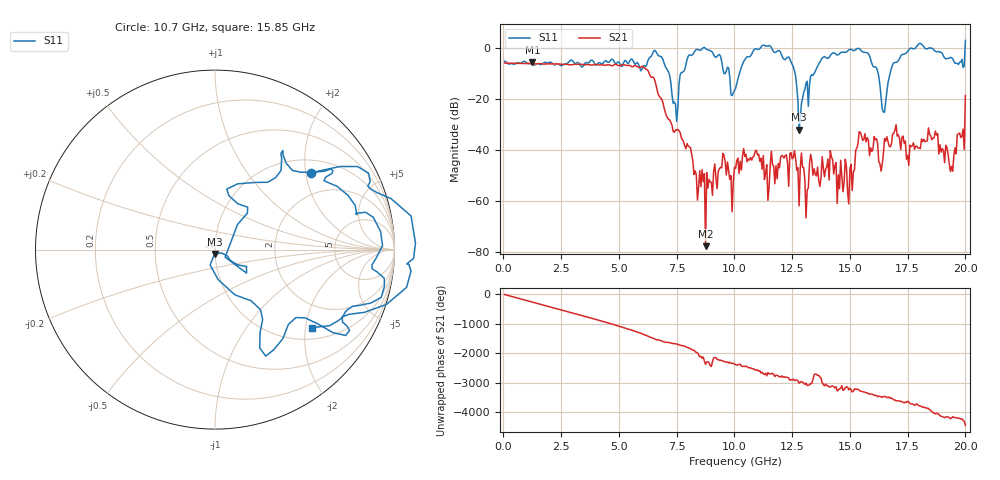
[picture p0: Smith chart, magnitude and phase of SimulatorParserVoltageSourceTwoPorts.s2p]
# MHz MA S R 50.0
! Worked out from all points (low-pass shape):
!   400 points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, 50 MHz to 20 GHz, reference 50 ohm
!   highest |S21| = -5.70 dB at 1.25 GHz (marker M1); lowest = -77.9 dB at 8.75 GHz (marker M2)
!   |S21| within 3 dB of the highest: start of sweep to 6.223 GHz
!   lowest |S11| = -32.2 dB at 12.8 GHz (marker M3), VSWR 1.05, Z = 49.7 - j2.42 ohm
!   |S11| at or under -10 dB: 7.164 GHz to 7.687 GHz (522.4 MHz wide, 7.03 % of centre); 12.62 GHz to 13.46 GHz (838.8 MHz wide, 6.43 % of centre); 16.22 GHz to 16.74 GHz (523.7 MHz wide, 3.18 % of centre)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
!   S12 and S22 are empty: the file has one direction only
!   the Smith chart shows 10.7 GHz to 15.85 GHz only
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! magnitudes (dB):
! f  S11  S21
! 50 MHz  -5.3  -6.0
! 1.25 GHz  -6.7  -5.7
! 3.4 GHz  -7.6  -6.5
! 6.7 GHz  -3.0  -18.3
! 7.5 GHz  -28.9  -32.4
! 8.7 GHz  0.1  -49.5
! 8.75 GHz  -0.3  -77.9
! 8.8 GHz  -0.7  -49.0
! 9.9 GHz  -18.8  -64.4
! 10.05 GHz  -15.9  -47.4
! 11.95 GHz  -1.2  -47.1
! 12.6 GHz  -9.1  -40.4
! 12.8 GHz  -32.2  -62.0
! 12.9 GHz  -22.0  -41.3
! 13.1 GHz  -14.0  -66.8
! 13.35 GHz  -10.5  -44.3
! 14.95 GHz  -0.9  -61.3
! 15.4 GHz  -0.3  -33.0
! 16.7 GHz  -11.7  -38.6
! 19.45 GHz  -4.3  -48.4
! 19.95 GHz  -7.2  -40.0
! 20 GHz  2.8  -18.8
